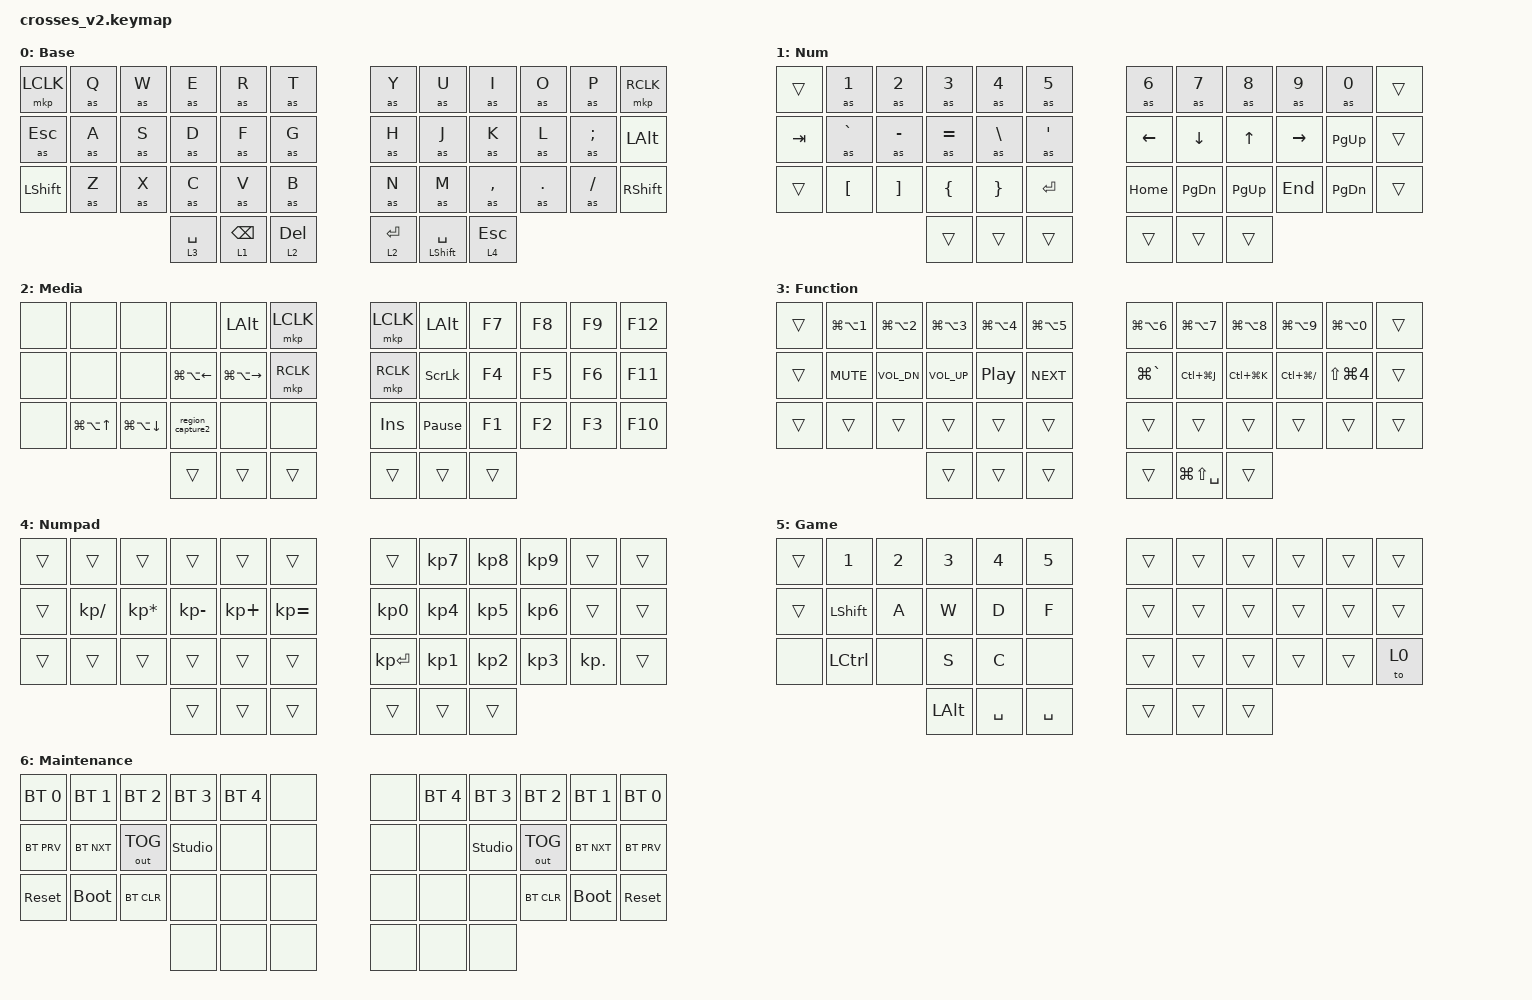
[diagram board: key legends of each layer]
// Ported from zmk-config-totem-shift/config/totem.keymap as closely as the
// physical layout allows. Crosses has 2 extra keys per side on the top and
// home rows (totem is 5-per-side there, crosses is 6-per-side); those 4
// positions (0, 11, 12, 23) have no totem equivalent and are left
// unassigned (&none on the base layer, &trans elsewhere).

#include <behaviors.dtsi>
#include <dt-bindings/zmk/keys.h>
#include <dt-bindings/zmk/bt.h>
#include <dt-bindings/zmk/outputs.h>
#include <dt-bindings/zmk/ext_power.h>

#define ZMK_POINTING_DEFAULT_MOVE_VAL 1500  // default: 600
#define ZMK_POINTING_DEFAULT_SCRL_VAL 20    // default: 10

#include <dt-bindings/zmk/pointing.h>
#include <dt-bindings/zmk/input_transform.h>

#define BASE      0
#define NUM       1
#define MEDIA     2
#define FUNCTION  3
#define NUMPAD    4
#define GAME      5
#define MAINT     6

&mt {
    quick-tap-ms = <100>;
    global-quick-tap;
    flavor = "tap-preferred";
    tapping-term-ms = <170>;
};

/ {
    chosen { zmk,physical-layout = &gggw_crosses_42_layout; };

    behaviors {
        // Used only by the outer-thumb combos. Other key presses must not
        // bypass the 500 ms guard; a short chord does nothing.
        maint_gate: maintenance_hold {
            compatible = "zmk,behavior-hold-tap";
            #binding-cells = <2>;
            flavor = "tap-preferred";
            tapping-term-ms = <500>;
            bindings = <&mo>, <&none>;
        };

        hm: homerow_mods {
            compatible = "zmk,behavior-hold-tap";
            label = "HOMEROW_MODS";
            #binding-cells = <2>;
            tapping-term-ms = <200>;
            quick_tap_ms = <0>;
            flavor = "tap-preferred";
            bindings = <&kp>, <&kp>;
        };

        lc: layer_change {
            compatible = "zmk,behavior-hold-tap";
            #binding-cells = <2>;
            flavor = "hold-preferred";
            tapping-term-ms = <200>;
            quick-tap-ms = <200>;
            require-prior-idle-ms = <125>;
            bindings = <&to>, <&kp>;
        };

        sc: sticky_layer_change {
            compatible = "zmk,behavior-hold-tap";
            #binding-cells = <2>;
            flavor = "hold-preferred";
            tapping-term-ms = <200>;
            quick-tap-ms = <200>;
            require-prior-idle-ms = <125>;
            bindings = <&sl>, <&kp>;
        };

        dl: dualayer_change {
            compatible = "zmk,behavior-hold-tap";
            #binding-cells = <2>;
            flavor = "hold-preferred";
            tapping-term-ms = <200>;
            quick-tap-ms = <200>;
            require-prior-idle-ms = <125>;
            bindings = <&to>, <&sl>;
        };

        ts: temp_sticky {
            compatible = "zmk,behavior-hold-tap";
            #binding-cells = <2>;
            flavor = "hold-preferred";
            tapping-term-ms = <200>;
            quick-tap-ms = <200>;
            require-prior-idle-ms = <125>;
            bindings = <&mo>, <&to>;
        };
    };

// Physical key-position reference (used by combo key-positions below):
//   ┌─────────┬─────────┬─────────┬─────────┬─────────┬─────────┐                     ┌─────────┬─────────┬─────────┬─────────┬─────────┬─────────┐
//   │    0    │    1    │    2    │    3    │    4    │    5    │                     │    6    │    7    │    8    │    9    │   10    │   11    │
//   ├─────────┼─────────┼─────────┼─────────┼─────────┼─────────┤                     ├─────────┼─────────┼─────────┼─────────┼─────────┼─────────┤
//   │   12    │   13    │   14    │   15    │   16    │   17    │                     │   18    │   19    │   20    │   21    │   22    │   23    │
//   ├─────────┼─────────┼─────────┼─────────┼─────────┼─────────┤                     ├─────────┼─────────┼─────────┼─────────┼─────────┼─────────┤
//   │   24    │   25    │   26    │   27    │   28    │   29    │                     │   30    │   31    │   32    │   33    │   34    │   35    │
//   └─────────┴─────────┴─────────┴─────────┼─────────┼─────────┼──────────┬┬─────────┼─────────┼─────────┼─────────┴─────────┴─────────┴─────────┘
//                                           │   36    │  37     │  38      ││  39     │  40     │  41     │
//                                           └─────────┴─────────┴──────────┘└─────────┴─────────┴─────────┘

    combos {
        compatible = "zmk,combos";

        // Enter from Base only. Default combo release exits Maintenance as
        // soon as either thumb is released (do not enable slow-release).
        combo_maintenance_left {
            timeout-ms = <50>;
            key-positions = <36 38>;
            layers = <BASE>;
            bindings = <&maint_gate MAINT 0>;
        };

        combo_maintenance_right {
            timeout-ms = <50>;
            key-positions = <39 41>;
            layers = <BASE>;
            bindings = <&maint_gate MAINT 0>;
        };

        combo_esc {
            timeout-ms = <50>;
            key-positions = <1 2>;
            layers = <0 1 3>;
            bindings = <&kp ESC>;
        };

        combo_tab {
            timeout-ms = <50>;
            key-positions = <1 2 37 40>;
            layers = <0 1 3>;
            bindings = <&kp TAB>;
        };
        combo_tab2 {
            timeout-ms = <50>;
            key-positions = <24 35>;
            layers = <0 1 3>;
            bindings = <&kp TAB>;
        };
        combo_caps_word {
            timeout-ms = <50>;
            key-positions = <29 30>;
            layers = <0 1 3>;
            bindings = <&caps_word>;
        };
        combo_undo {
            timeout-ms = <50>;
            key-positions = <38 39>;
            layers = <0 1 3>;
            bindings = <&kp LC(Z)>;
        };

        combo_ctrl1 {
            timeout-ms = <50>;
            key-positions = <14 15>;
            layers = <0>;
            bindings = <&kp LCTRL>;
        };

        combo_ctrl2 {
            timeout-ms = <50>;
            key-positions = <21 20>;
            layers = <0>;
            bindings = <&kp RCTRL>;
        };

        combo_alt1 {
            timeout-ms = <50>;
            key-positions = <14 13>;
            layers = <0>;
            bindings = <&kp LALT>;
        };

        combo_alt2 {
            timeout-ms = <50>;
            key-positions = <21 22>;
            layers = <0>;
            bindings = <&kp RALT>;
        };

        combo_super1 {
            timeout-ms = <50>;
            key-positions = <16 15>;
            layers = <0 3 1>;
            bindings = <&kp LGUI>;
        };
        combo_super2 {
            timeout-ms = <50>;
            key-positions = <19 20>;
            layers = <0 3 1>;
            bindings = <&kp LGUI>;
        };

        to_game_layer {
            bindings = <&to GAME>;
            key-positions = <5 6>;
            layers = <0 1 3>;
            timeout-ms = <50>;
        };

        region_screen {
            bindings = <&capture_region>;
            key-positions = <6 7>;
            layers = <0 1 3>;
            timeout-ms = <50>;
        };

        combo_backspace2 {
            bindings = <&kp BACKSPACE>;
            key-positions = <4 5>;
            timeout-ms = <50>;
            layers = <0 1 3>;
        };

        combo_lbrace {
            bindings = <&kp LS(LBKT)>;
            key-positions = <28 29>;
            timeout-ms = <50>;
            layers = <0 1 3>;
        };

        combo_rbrace {
            bindings = <&kp LS(RBKT)>;
            key-positions = <30 31>;
            timeout-ms = <50>;
            layers = <0 1 3>;
        };

        combo_lparen {
            bindings = <&kp LS(N9)>;
            key-positions = <5 17>;
            timeout-ms = <50>;
            layers = <0 1 3>;
        };

        combo_rparen {
            bindings = <&kp LS(N0)>;
            key-positions = <6 18>;
            timeout-ms = <50>;
            layers = <0 1 3>;
        };

        combo_lbracket {
            bindings = <&kp LBKT>;
            key-positions = <4 16>;
            timeout-ms = <50>;
            layers = <0 1 3>;
        };

        combo_rbracket {
            bindings = <&kp RBKT>;
            key-positions = <7 19>;
            timeout-ms = <50>;
            layers = <0 1 3>;
        };

        combo_copy {
            timeout-ms = <50>;
            key-positions = <26 27>;
            layers = <0 1 3 4 5>;
            bindings = <&kp LG(C)>;
        };
        combo_cut {
            timeout-ms = <50>;
            key-positions = <25 26>;
            layers = <0 1 3 4 5>;
            bindings = <&kp LG(X)>;
        };
        combo_paste {
            timeout-ms = <50>;
            key-positions = <27 28>;
            layers = <0 1 3 4 5>;
            bindings = <&kp LG(V)>;
        };
    };

// Physical key-position reference (used by combo key-positions below):
//   ┌─────────┬─────────┬─────────┬─────────┬─────────┬─────────┐                     ┌─────────┬─────────┬─────────┬─────────┬─────────┬─────────┐
//   │    0    │    1    │    2    │    3    │    4    │    5    │                     │    6    │    7    │    8    │    9    │   10    │   11    │
//   ├─────────┼─────────┼─────────┼─────────┼─────────┼─────────┤                     ├─────────┼─────────┼─────────┼─────────┼─────────┼─────────┤
//   │   12    │   13    │   14    │   15    │   16    │   17    │                     │   18    │   19    │   20    │   21    │   22    │   23    │
//   ├─────────┼─────────┼─────────┼─────────┼─────────┼─────────┤                     ├─────────┼─────────┼─────────┼─────────┼─────────┼─────────┤
//   │   24    │   25    │   26    │   27    │   28    │   29    │                     │   30    │   31    │   32    │   33    │   34    │   35    │
//   └─────────┴─────────┴─────────┴─────────┼─────────┼─────────┼──────────┬┬─────────┼─────────┼─────────┼─────────┴─────────┴─────────┴─────────┘
//                                           │   36    │  37     │  38      ││  39     │  40     │  41     │
//                                           └─────────┴─────────┴──────────┘└─────────┴─────────┴─────────┘
    macros {
        shifted: macro_shifted_kp {
            #binding-cells = <1>;
            label = "MACRO_SHIFTED_KP";
            compatible = "zmk,behavior-macro-one-param";
            bindings =
                <&macro_press &kp LSHFT>,
                <&macro_param_1to1 &macro_tap &kp MACRO_PLACEHOLDER>,
                <&macro_release &kp LSHFT>;
        };

        as_ht: autoshift_hold_tap {
            compatible = "zmk,behavior-hold-tap";
            label = "AUTOSHIFT_HOLD_TAP";
            #binding-cells = <2>;
            tapping-term-ms = <175>;
            flavor = "tap-preferred";
            bindings = <&shifted>, <&kp>;
        };
        as: autoshift {
            compatible = "zmk,behavior-macro-one-param";
            #binding-cells = <1>;
            label = "AUTOSHIFT_KP";
            bindings =
                <&macro_press>,
                <&macro_param_1to1>,
                <&macro_param_1to2>,
                <&as_ht MACRO_PLACEHOLDER MACRO_PLACEHOLDER>,
                <&macro_pause_for_release>,
                <&macro_release>,
                <&macro_param_1to1>,
                <&macro_param_1to2>,
                <&as_ht MACRO_PLACEHOLDER MACRO_PLACEHOLDER>;
        };
        capture_region: capture_region {
            compatible = "zmk,behavior-macro";
            #binding-cells = <0>;
            bindings = <
                &macro_press   &kp LGUI &kp LSHFT
                &macro_tap     &kp N5
                &macro_release &kp LGUI &kp LSHFT
            >;
            wait-ms = <10>;
            tap-ms = <10>;
            label = "CAPTURE_REGION";
        };

        region_capture2: region_capture2 {
            compatible = "zmk,behavior-macro";
            #binding-cells = <0>;
            bindings =
                <&macro_press>,
                <&kp RCTRL>,
                <&macro_tap>,
                <&kp K_APP>,
                <&macro_release>,
                <&kp RCTRL>;

            label = "REGION_CAPTURE2";
        };
    };

    keymap {
        compatible = "zmk,keymap";

        base_layer {
            display-name = "Base";
//   ┌─────────┬─────────┬─────────┬─────────┬─────────┬─────────┐                     ┌─────────┬─────────┬─────────┬─────────┬─────────┬─────────┐
//   │ L-CLICK │    Q    │    W    │    E    │    R    │    T    │                     │    Y    │    U    │    I    │    O    │    P    │ R-CLICK │
//   ├─────────┼─────────┼─────────┼─────────┼─────────┼─────────┤                     ├─────────┼─────────┼─────────┼─────────┼─────────┼─────────┤
//   │ESC/LT3  │    A    │    S    │    D    │    F    │    G    │                     │    H    │    J    │    K    │    L    │    ;    │  LALT   │
//   ├─────────┼─────────┼─────────┼─────────┼─────────┼─────────┤                     ├─────────┼─────────┼─────────┼─────────┼─────────┼─────────┤
//   │  SHIFT  │    Z    │    X    │    C    │    V    │    B    │                     │    N    │    M    │    ,    │    .    │    /    │  SHIFT  │
//   └─────────┴─────────┴─────────┴─────────┼─────────┼─────────┼──────────┬┬─────────┼─────────┼─────────┼─────────┴─────────┴─────────┴─────────┘
//                                           │SPC/LT 3 │BSPC/LT 1│ DEL/LT 2 ││  RT/LT 2│SPC/SHFT │ESC/LT 4 │
//                                           └─────────┴─────────┴──────────┘└─────────┴─────────┴─────────┘
// L-CLICK/R-CLICK (&mkp LCLK/RCLK) and LALT live on the base layer and pass
// through via &trans on ordinary layers. Maintenance uses explicit commands
// and blocks unused positions. &mkp holds for exactly as long as the physical
// key is held (good for trackball drag-to-select); release is tied to the
// key position rather than the active layer, so you can hold L-CLICK, let
// go of a layer-hold thumb key while still holding L-CLICK, and separately
// hold LALT with another finger for option-drag selection in terminals.
            bindings = <
&mkp LCLK  &as Q      &as W    &as E      &as R      &as T          &as Y      &as U          &as I        &as O     &as P          &mkp RCLK
&as ESC    &as A      &as S    &as D      &as F      &as G          &as H      &as J          &as K        &as L     &as SEMICOLON  &kp LALT
&kp LSHFT  &as Z      &as X    &as C      &as V      &as B          &as N      &as M          &as COMMA    &as DOT   &as SLASH      &kp RSHFT
                            &lt 3 SPACE &lt 1 BSPC &lt 2 DEL        &lt 2 RET  &mt LSHFT SPACE   &lt 4 ESC
            >;
        };

        num_layer {
            display-name = "Num";
//   ┌─────────┬─────────┬─────────┬─────────┬─────────┬─────────┐                     ┌─────────┬─────────┬─────────┬─────────┬─────────┬─────────┐
//   │  trans  │    1    │    2    │    3    │    4    │    5    │                     │    6    │    7    │    8    │    9    │    0    │  trans  │
//   ├─────────┼─────────┼─────────┼─────────┼─────────┼─────────┤                     ├─────────┼─────────┼─────────┼─────────┼─────────┼─────────┤
//   │  TAB    │    ~    │    -    │    =    │    \    │    '    │                     │   LEFT  │   DOWN  │   UP    │  RIGHT  │  PG_UP  │  trans  │
//   ├─────────┼─────────┼─────────┼─────────┼─────────┼─────────┤                     ├─────────┼─────────┼─────────┼─────────┼─────────┼─────────┤
//   │ trans   │    [    │    ]    │    {    │    }    │  ENTER  │                     │  HOME   │  PG_DN  │  PG_UP  │   END   │  PG_DN  │  trans  │
//   └─────────┴─────────┴─────────┴─────────┼─────────┼─────────┼──────────┬┬─────────┼─────────┼─────────┼─────────┴─────────┴─────────┴─────────┘
//                                           │  trans  │  trans  │  trans   ││  trans  │  trans  │  trans  │
//                                           └─────────┴─────────┴──────────┘└─────────┴─────────┴─────────┘
            bindings = <
&trans   &as N1     &as N2     &as N3     &as N4      &as N5         &as N6      &as N7      &as N8      &as N9      &as N0    &trans
&kp TAB  &as GRAVE  &as MINUS  &as EQUAL  &as BSLH    &as SQT        &kp LEFT    &kp DOWN    &kp UP      &kp RIGHT   &kp PG_UP &trans
&trans   &kp LBKT   &kp RBKT   &kp LBRC   &kp RBRC    &kp RET        &kp HOME    &kp PG_DN   &kp PG_UP   &kp END     &kp PG_DN &trans
                                &trans     &trans      &trans         &trans      &trans      &trans
            >;
        };

        media_layer {
            display-name = "Media";
//   (formerly FUNCTION layer content, ported from corne4-sys.vil layer 4 position — moved here per request)
//   Combos are disabled on this layer. L-CLICK 5/6, R-CLICK 17/18, LALT 4/7. F-key block shifted right one column.
//   ┌─────────┬─────────┬─────────┬─────────┬─────────┬─────────┐                     ┌─────────┬─────────┬─────────┬─────────┬─────────┬─────────┐
//   │    —    │    —    │    —    │    —    │   LALT  │ L-CLICK │                     │ L-CLICK │   LALT  │    F7   │    F8   │    F9   │   F12   │
//   ├─────────┼─────────┼─────────┼─────────┼─────────┼─────────┤                     ├─────────┼─────────┼─────────┼─────────┼─────────┼─────────┤
//   │    —    │    —    │    —    │  WIN <  │  WIN >  │ R-CLICK │                     │ R-CLICK │   SLCK  │    F4   │    F5   │    F6   │   F11   │
//   ├─────────┼─────────┼─────────┼─────────┼─────────┼─────────┤                     ├─────────┼─────────┼─────────┼─────────┼─────────┼─────────┤
//   │    —    │  WIN ^  │  WIN v  │ CAPTURE │    —    │    —    │                     │  INSERT │  PAUSE  │    F1   │    F2   │    F3   │   F10   │
//   └─────────┴─────────┴─────────┴─────────┼─────────┼─────────┼──────────┬┬─────────┼─────────┼─────────┼─────────┴─────────┴─────────┴─────────┘
//                                           │  trans  │  trans  │  trans   ││  trans  │  trans  │  trans  │
//                                           └─────────┴─────────┴──────────┘└─────────┴─────────┴─────────┘
            bindings = <
&none &none &none &none &kp LALT &mkp LCLK                 &mkp LCLK &kp LALT &kp F7 &kp F8 &kp F9 &kp F12
&none &none &none &kp LG(LA(LEFT_ARROW)) &kp LG(LA(RIGHT_ARROW)) &mkp RCLK   &mkp RCLK &kp SLCK &kp F4 &kp F5 &kp F6 &kp F11
&none &kp LG(LA(UP_ARROW)) &kp LG(LA(DOWN_ARROW)) &region_capture2 &none &none   &kp INSERT &kp PAUSE_BREAK &kp F1 &kp F2 &kp F3 &kp F10
                                       &trans &trans &trans             &trans &trans &trans
            >;
        };

        function_layer {
            display-name = "Function";
//   (ported from corne4-sys.vil layer 4: mission-control space switching + media transport + mac shortcuts)
//   Hold with left thumb Space: the RIGHT trackball scrolls; see &trackball_central_listener below.
//   ┌─────────┬─────────┬─────────┬─────────┬─────────┬─────────┐                     ┌─────────┬─────────┬─────────┬─────────┬─────────┬─────────┐
//   │  trans  │ ⌥⌘ SPC1 │ ⌥⌘ SPC2 │ ⌥⌘ SPC3 │ ⌥⌘ SPC4 │ ⌥⌘ SPC5 │                     │ ⌥⌘ SPC6 │ ⌥⌘ SPC7 │ ⌥⌘ SPC8 │ ⌥⌘ SPC9 │ ⌥⌘ SPC0 │  trans  │
//   ├─────────┼─────────┼─────────┼─────────┼─────────┼─────────┤                     ├─────────┼─────────┼─────────┼─────────┼─────────┼─────────┤
//   │  trans  │  MUTE   │  VOL -  │  VOL +  │  PLAY   │  NEXT   │                     │ ⌘  `    │ ⌃⌘  J   │ ⌃⌘  K   │ ⌃⌘  /   │ ⇧⌘  4   │  trans  │
//   ├─────────┼─────────┼─────────┼─────────┼─────────┼─────────┤                     ├─────────┼─────────┼─────────┼─────────┼─────────┼─────────┤
//   │  trans  │         │         │         │         │         │                     │         │         │         │         │         │  trans  │
//   └─────────┴─────────┴─────────┴─────────┼─────────┼─────────┼──────────┬┬─────────┼─────────┼─────────┼─────────┴─────────┴─────────┴─────────┘
//                                           │  trans  │  trans  │  trans   ││  trans  │⌃⌘ + SPC │  trans  │
//                                           └─────────┴─────────┴──────────┘└─────────┴─────────┴─────────┘
            bindings = <
&trans   &kp LG(LA(N1))  &kp LG(LA(N2))  &kp LG(LA(N3))  &kp LG(LA(N4))   &kp LG(LA(N5))       &kp LG(LA(N6))  &kp LG(LA(N7))  &kp LG(LA(N8))  &kp LG(LA(N9))   &kp LG(LA(N0))  &trans
&trans   &kp C_MUTE      &kp C_VOL_DN    &kp C_VOL_UP    &kp C_PLAY_PAUSE &kp C_NEXT           &kp LG(GRAVE)   &kp LC(LG(J))   &kp LC(LG(K))   &kp LC(LG(FSLH)) &kp LS(LG(N4))  &trans
&trans   &trans          &trans          &trans          &trans           &trans               &trans          &trans          &trans          &trans           &trans          &trans
                                         &trans          &trans           &trans               &trans          &kp LG(LS(SPACE))               &trans
            >;
        };

        numpad_layer {
            display-name = "Numpad";
//   Hold with right thumb Escape: the LEFT trackball scrolls; see &trackball_peripheral_listener below.
//   (ported from corne4-sys.vil layer 5)
//   ┌─────────┬─────────┬─────────┬─────────┬─────────┬─────────┐                     ┌─────────┬─────────┬─────────┬─────────┬─────────┬─────────┐
//   │  trans  │  trans  │  trans  │  trans  │  trans  │  trans  │                     │  trans  │    7    │    8    │    9    │  trans  │  trans  │
//   ├─────────┼─────────┼─────────┼─────────┼─────────┼─────────┤                     ├─────────┼─────────┼─────────┼─────────┼─────────┼─────────┤
//   │  trans  │    /    │    *    │    -    │    +    │    =    │                     │    0    │    4    │    5    │    6    │  trans  │  trans  │
//   ├─────────┼─────────┼─────────┼─────────┼─────────┼─────────┤                     ├─────────┼─────────┼─────────┼─────────┼─────────┼─────────┤
//   │  trans  │  trans  │  trans  │  trans  │  trans  │  trans  │                     │  ENTER  │    1    │    2    │    3    │    .    │  trans  │
//   └─────────┴─────────┴─────────┴─────────┼─────────┼─────────┼──────────┬┬─────────┼─────────┼─────────┼─────────┴─────────┴─────────┴─────────┘
//                                           │  trans  │  trans  │  trans   ││  trans  │  trans  │  trans  │
//                                           └─────────┴─────────┴──────────┘└─────────┴─────────┴─────────┘
            bindings = <
&trans   &trans        &trans          &trans        &trans        &trans              &trans        &kp KP_N7  &kp KP_N8  &kp KP_N9  &trans  &trans
&trans   &kp KP_SLASH  &kp KP_MULTIPLY &kp KP_MINUS  &kp KP_PLUS   &kp KP_EQUAL        &kp KP_N0     &kp KP_N4  &kp KP_N5  &kp KP_N6  &trans  &trans
&trans   &trans        &trans          &trans        &trans        &trans              &kp KP_ENTER  &kp KP_N1  &kp KP_N2  &kp KP_N3  &kp KP_DOT  &trans
                                       &trans        &trans        &trans              &trans         &trans     &trans
            >;
        };

        game_layer {
            display-name = "Game";
//   ┌─────────┬─────────┬─────────┬─────────┬─────────┬─────────┐                     ┌─────────┬─────────┬─────────┬─────────┬─────────┬─────────┐
//   │  trans  │    1    │    2    │    3    │    4    │    5    │                     │  trans  │  trans  │  trans  │  trans  │  trans  │  trans  │
//   ├─────────┼─────────┼─────────┼─────────┼─────────┼─────────┤                     ├─────────┼─────────┼─────────┼─────────┼─────────┼─────────┤
//   │  trans  │  SHIFT  │    A    │    W    │    D    │    F    │                     │  trans  │  trans  │  trans  │  trans  │  trans  │  trans  │
//   ├─────────┼─────────┼─────────┼─────────┼─────────┼─────────┤                     ├─────────┼─────────┼─────────┼─────────┼─────────┼─────────┤
//   │  none   │  CTRL   │  none   │    S    │    C    │  none   │                     │  trans  │  trans  │  trans  │  trans  │  trans  │  TO BASE│
//   └─────────┴─────────┴─────────┴─────────┼─────────┼─────────┼──────────┬┬─────────┼─────────┼─────────┼─────────┴─────────┴─────────┴─────────┘
//                                           │   ALT   │  SPACE  │  SPACE   ││  trans  │  trans  │  trans  │
//                                           └─────────┴─────────┴──────────┘└─────────┴─────────┴─────────┘
            bindings = <
&trans   &kp N1     &kp N2  &kp N3    &kp N4     &kp N5         &trans  &trans  &trans  &trans  &trans  &trans
&trans   &kp LSHFT  &kp A   &kp W     &kp D      &kp F          &trans  &trans  &trans  &trans  &trans  &trans
&none    &kp LCTRL  &none   &kp S     &kp C      &none          &trans  &trans  &trans  &trans  &trans  &to 0
                           &kp LALT  &kp SPACE  &kp SPACE       &trans  &trans  &trans
            >;
        };

        maintenance_layer {
            display-name = "Maintenance";
// Enter from Base with 36+38 or 39+41, held for 500 ms. Release either to exit.
// Commands are mirrored; Reset/Boot target the half of the command key.
//   ┌─────────┬─────────┬─────────┬─────────┬─────────┬─────────┐                     ┌─────────┬─────────┬─────────┬─────────┬─────────┬─────────┐
//   │ BTSEL 0 │ BTSEL 1 │ BTSEL 2 │ BTSEL 3 │ BTSEL 4 │    —    │                     │    —    │ BTSEL 4 │ BTSEL 3 │ BTSEL 2 │ BTSEL 1 │ BTSEL 0 │
//   ├─────────┼─────────┼─────────┼─────────┼─────────┼─────────┤                     ├─────────┼─────────┼─────────┼─────────┼─────────┼─────────┤
//   │ BT PREV │ BT NEXT │ OUT TOG │  STUDIO │    —    │    —    │                     │    —    │    —    │  STUDIO │ OUT TOG │ BT NEXT │ BT PREV │
//   ├─────────┼─────────┼─────────┼─────────┼─────────┼─────────┤                     ├─────────┼─────────┼─────────┼─────────┼─────────┼─────────┤
//   │  RESET  │  BOOTLD │  BT CLR │    —    │    —    │    —    │                     │    —    │    —    │    —    │  BT CLR │  BOOTLD │  RESET  │
//   └─────────┴─────────┴─────────┴─────────┼─────────┼─────────┼──────────┬┬─────────┼─────────┼─────────┼─────────┴─────────┴─────────┴─────────┘
//                                           │    —    │    —    │    —     ││    —    │    —    │    —    │
//                                           └─────────┴─────────┴──────────┘└─────────┴─────────┴─────────┘
// Unused keys, including thumbs, are blocked rather than transparent.
            bindings = <
&bt BT_SEL 0 &bt BT_SEL 1 &bt BT_SEL 2 &bt BT_SEL 3 &bt BT_SEL 4 &none   &none &bt BT_SEL 4 &bt BT_SEL 3 &bt BT_SEL 2 &bt BT_SEL 1 &bt BT_SEL 0
&bt BT_PRV &bt BT_NXT &out OUT_TOG &studio_unlock &none &none          &none &none &studio_unlock &out OUT_TOG &bt BT_NXT &bt BT_PRV
&sys_reset &bootloader &bt BT_CLR &none &none &none                   &none &none &none &bt BT_CLR &bootloader &sys_reset
                                       &none &none &none            &none &none &none
            >;
        };
    };
};

// ---- Left trackball: scroll while NUMPAD is held by the right thumb ----
// Apply on the central, which knows the active layers, after split transport.
// Reverse vertical scrolling and retain the 1/16 scaler and 16 ms rate limit.
&trackball_peripheral_listener {
    scroll_layer {
        layers = <NUMPAD>;
        input-processors
            = <&zip_xy_transform (INPUT_TRANSFORM_Y_INVERT)>
            , <&zip_xy_to_scroll_mapper>
            , <&zip_scroll_scaler 1 16>
            , <&zip_report_rate_limit 16>;
    };
};

// ---- Right trackball: scroll while FUNCTION is held by the left thumb ----
// The right sensor's cursor orientation inverts X+Y. To reverse vertical
// scroll relative to cursor motion, cancel that Y flip and retain the X flip.
// This override replaces the normal cursor pipeline while FUNCTION is active.
&trackball_central_listener {
    scroll_layer {
        layers = <FUNCTION>;
        input-processors
            = <&zip_xy_transform (INPUT_TRANSFORM_X_INVERT)>
            , <&zip_xy_to_scroll_mapper>
            , <&zip_scroll_scaler 1 16>
            , <&zip_report_rate_limit 16>;
    };
};
